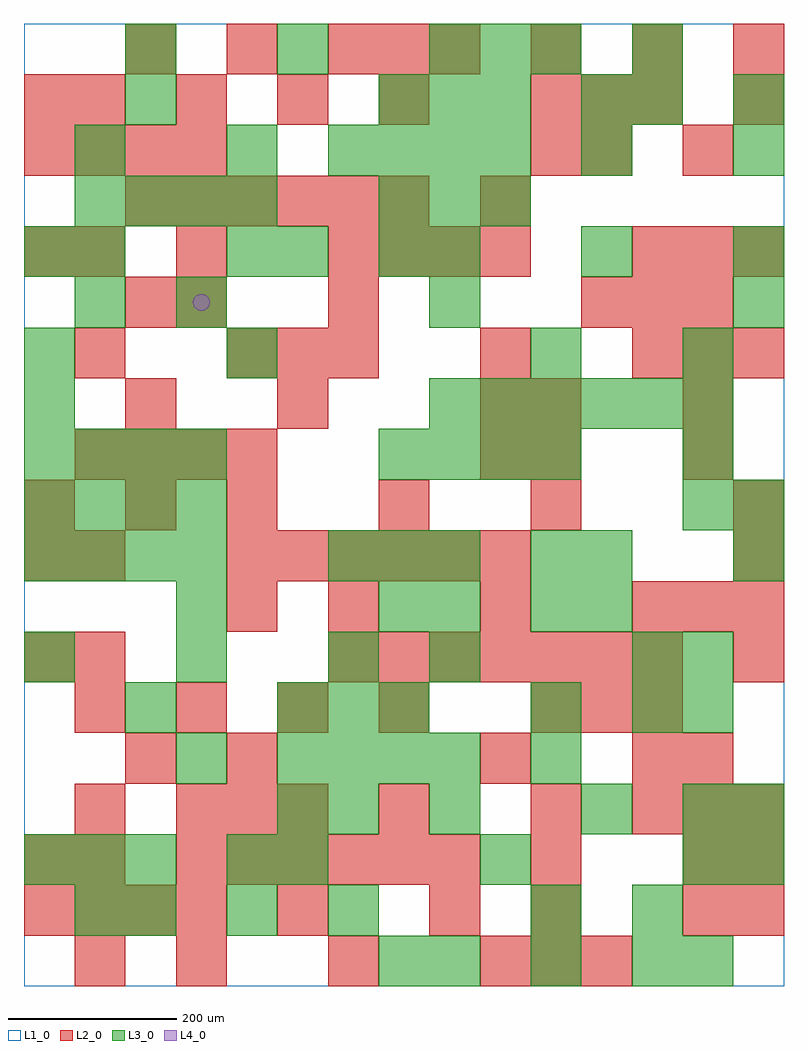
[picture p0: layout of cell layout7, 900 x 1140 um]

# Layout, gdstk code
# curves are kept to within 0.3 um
import gdstk
lib = gdstk.Library(unit=1e-6, precision=1e-09)
def R(c, l, rs):  # rectangles x0, y0, x1, y1
    for r in rs: c.add(gdstk.rectangle(r[:2], r[2:], *l))
def A(c, l, x, y, w, h, nx, ny, dx, dy):  # array of equal rectangles
    R(c, l, [(x+i*dx, y+j*dy, x+i*dx+w, y+j*dy+h) for i in range(nx) for j in range(ny)])
def P(c, l, *ps):  # polygons
    for p in ps: c.add(gdstk.Polygon(p, *l))
L1_0 = (1, 0)
L2_0 = (2, 0)
L3_0 = (3, 0)
L4_0 = (4, 0)

layout7 = lib.new_cell('layout7')
R(layout7, L1_0, [(0,0,900,1140)])
A(layout7, L2_0, 180, 0, 60, 60, 3, 1, 180, 0)
A(layout7, L2_0, 600, 0, 60, 60, 1, 4, 0, 60)
A(layout7, L2_0, 0, 60, 60, 60, 4, 2, 60, 900)
A(layout7, L2_0, 180, 120, 60, 60, 6, 1, 60, 0)
A(layout7, L2_0, 180, 180, 60, 60, 3, 1, 60, 0)
A(layout7, L2_0, 720, 180, 60, 60, 3, 2, 60, 540)
A(layout7, L2_0, 780, 240, 60, 60, 1, 3, 0, 180)
A(layout7, L2_0, 60, 300, 60, 60, 4, 2, 120, 720)
A(layout7, L2_0, 600, 300, 60, 60, 3, 2, 60, 720)
A(layout7, L2_0, 360, 360, 60, 60, 7, 1, 60, 0)
A(layout7, L2_0, 840, 360, 60, 60, 1, 4, 0, 60)
A(layout7, L2_0, 360, 420, 60, 60, 3, 1, 180, 0)
A(layout7, L2_0, 240, 480, 60, 60, 6, 1, 60, 0)
A(layout7, L2_0, 0, 540, 60, 60, 3, 1, 120, 0)
A(layout7, L2_0, 600, 540, 60, 60, 1, 3, 0, 60)
A(layout7, L2_0, 60, 600, 60, 60, 4, 1, 60, 0)
A(layout7, L2_0, 540, 600, 60, 60, 1, 3, 0, 60)
A(layout7, L2_0, 240, 720, 60, 60, 3, 1, 60, 0)
A(layout7, L2_0, 660, 780, 60, 60, 3, 1, 60, 0)
A(layout7, L2_0, 360, 840, 60, 60, 4, 1, 60, 0)
A(layout7, L2_0, 720, 840, 60, 60, 3, 1, 60, 0)
A(layout7, L2_0, 120, 900, 60, 60, 6, 1, 60, 0)
A(layout7, L2_0, 120, 1080, 60, 60, 3, 1, 120, 0)
A(layout7, L2_0, 480, 1080, 60, 60, 4, 1, 120, 0)
R(layout7, L2_0, [(60,0,120,60), (660,0,720,60), (300,60,360,120), (480,60,540,120), (780,60,840,120), (840,60,900,120), (0,120,60,180), (60,120,120,180), (780,120,840,180), (840,120,900,180), (60,180,120,240), (420,180,480,240), (120,240,180,300), (240,240,300,300), (540,240,600,300), (720,240,780,300), (0,360,60,420), (60,360,120,420), (240,420,300,480), (0,480,60,540), (60,480,120,540), (420,540,480,600), (120,660,180,720), (300,660,360,720), (780,660,840,720), (60,720,120,780), (120,780,180,840), (180,780,240,840), (360,780,420,840), (0,840,60,900), (60,840,120,900), (180,840,240,900), (540,900,600,960), (600,960,660,1020), (660,960,720,1020), (780,960,840,1020), (0,1020,60,1080), (840,1020,900,1080), (420,1080,480,1140)])
A(layout7, L3_0, 420, 0, 60, 60, 1, 3, 0, 420)
A(layout7, L3_0, 480, 0, 60, 60, 3, 1, 120, 0)
A(layout7, L3_0, 120, 60, 60, 60, 3, 1, 120, 0)
A(layout7, L3_0, 0, 120, 60, 60, 3, 1, 60, 0)
A(layout7, L3_0, 300, 120, 60, 60, 3, 1, 240, 0)
A(layout7, L3_0, 300, 240, 60, 60, 4, 1, 60, 0)
A(layout7, L3_0, 300, 300, 60, 60, 3, 1, 60, 0)
A(layout7, L3_0, 0, 360, 60, 60, 3, 1, 180, 0)
A(layout7, L3_0, 0, 480, 60, 60, 4, 3, 60, 60)
A(layout7, L3_0, 360, 480, 60, 60, 3, 1, 60, 0)
A(layout7, L3_0, 420, 600, 60, 60, 4, 1, 60, 0)
A(layout7, L3_0, 480, 660, 60, 60, 6, 1, 60, 0)
A(layout7, L3_0, 240, 720, 60, 60, 1, 3, 0, 120)
A(layout7, L3_0, 480, 840, 60, 60, 3, 1, 180, 0)
A(layout7, L3_0, 60, 900, 60, 60, 4, 1, 60, 0)
A(layout7, L3_0, 420, 900, 60, 60, 3, 2, 60, 120)
A(layout7, L3_0, 360, 960, 60, 60, 4, 1, 60, 0)
A(layout7, L3_0, 120, 1080, 60, 60, 3, 1, 180, 0)
R(layout7, L3_0, [(780,0,840,60), (60,60,120,120), (600,60,660,120), (720,60,780,120), (240,120,300,180), (840,120,900,180), (300,180,360,240), (360,180,420,240), (480,180,540,240), (660,180,720,240), (780,180,840,240), (840,180,900,240), (180,240,240,300), (600,240,660,300), (120,300,180,360), (600,300,660,360), (720,300,780,360), (780,300,840,360), (480,360,540,420), (720,360,780,420), (780,360,840,420), (180,420,240,480), (480,420,540,480), (600,420,660,480), (660,420,720,480), (600,480,660,540), (660,480,720,540), (840,480,900,540), (780,540,840,600), (840,540,900,600), (780,600,840,660), (0,660,60,720), (0,720,60,780), (600,720,660,780), (780,720,840,780), (60,780,120,840), (180,780,240,840), (480,780,540,840), (840,780,900,840), (0,840,60,900), (60,840,120,900), (300,840,360,900), (60,960,120,1020), (660,960,720,1020), (840,960,900,1020), (120,1020,180,1080), (660,1020,720,1080), (720,1020,780,1080), (840,1020,900,1080), (540,1080,600,1140), (600,1080,660,1140), (720,1080,780,1140)])
P(layout7, L4_0, [(220,810),(219.239,813.827),(217.071,817.071),(213.827,819.239),(210,820),(206.173,819.239),(202.929,817.071),(200.761,813.827),(200,810),(200.761,806.173),(202.929,802.929),(206.173,800.761),(210,800),(213.827,800.761),(217.071,802.929),(219.239,806.173)])

lib.write_gds('layout7.gds')
